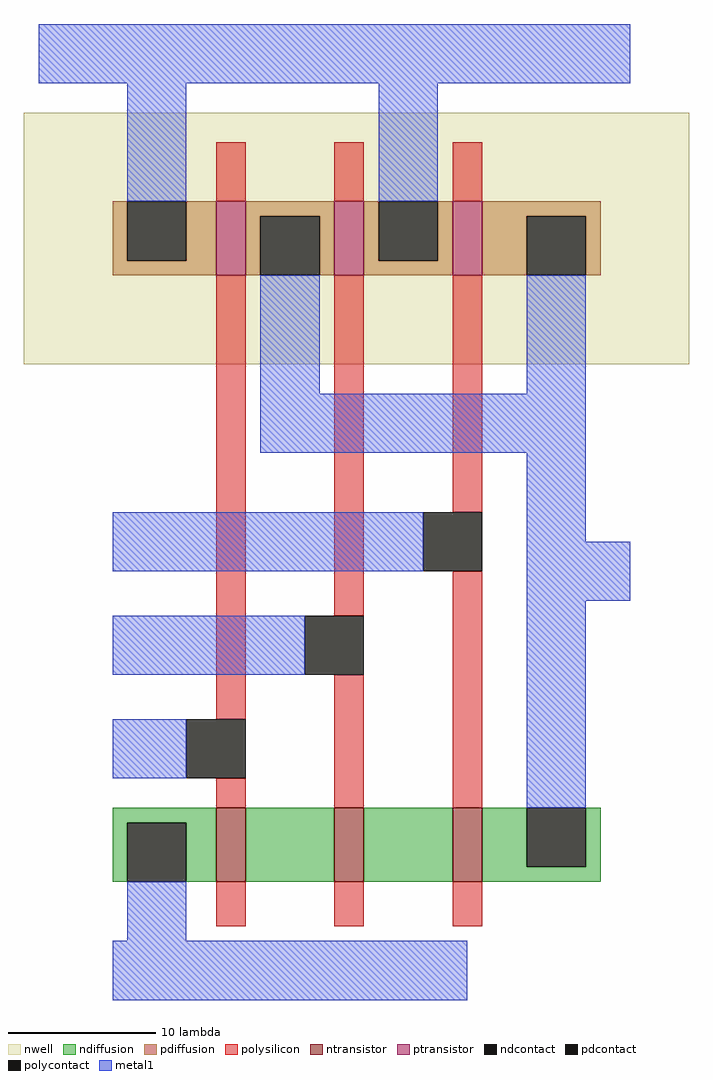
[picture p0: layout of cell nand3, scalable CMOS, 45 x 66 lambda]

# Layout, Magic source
magic
tech scmos
<< nwell >>
rect -8 -3 37 14
<< ntransistor >>
rect 5 -38 7 -33
rect 13 -38 15 -33
rect 21 -38 23 -33
<< ptransistor >>
rect 5 3 7 8
rect 13 3 15 8
rect 21 3 23 8
<< ndiffusion >>
rect -2 -34 5 -33
rect -2 -38 -1 -34
rect 3 -38 5 -34
rect 7 -38 13 -33
rect 15 -38 21 -33
rect 23 -37 26 -33
rect 30 -37 31 -33
rect 23 -38 31 -37
<< pdiffusion >>
rect -2 4 -1 8
rect 3 4 5 8
rect -2 3 5 4
rect 7 7 13 8
rect 7 3 8 7
rect 12 3 13 7
rect 15 4 16 8
rect 20 4 21 8
rect 15 3 21 4
rect 23 7 31 8
rect 23 3 26 7
rect 30 3 31 7
<< ndcontact >>
rect -1 -38 3 -34
rect 26 -37 30 -33
<< pdcontact >>
rect -1 4 3 8
rect 8 3 12 7
rect 16 4 20 8
rect 26 3 30 7
<< polysilicon >>
rect 5 8 7 12
rect 13 8 15 12
rect 21 8 23 12
rect 5 -27 7 3
rect 13 -20 15 3
rect 21 -13 23 3
rect 5 -33 7 -31
rect 13 -33 15 -24
rect 21 -33 23 -17
rect 5 -41 7 -38
rect 13 -41 15 -38
rect 21 -41 23 -38
<< polycontact >>
rect 19 -17 23 -13
rect 11 -24 15 -20
rect 3 -31 7 -27
<< metal1 >>
rect -7 16 33 20
rect -1 8 3 16
rect 16 8 20 16
rect 8 -5 12 3
rect 26 -5 30 3
rect 8 -9 30 -5
rect -2 -17 19 -13
rect 26 -15 30 -9
rect 26 -19 33 -15
rect -2 -24 11 -20
rect -2 -31 3 -27
rect 26 -33 30 -19
rect -1 -42 3 -38
rect -2 -46 22 -42
<< end >>
